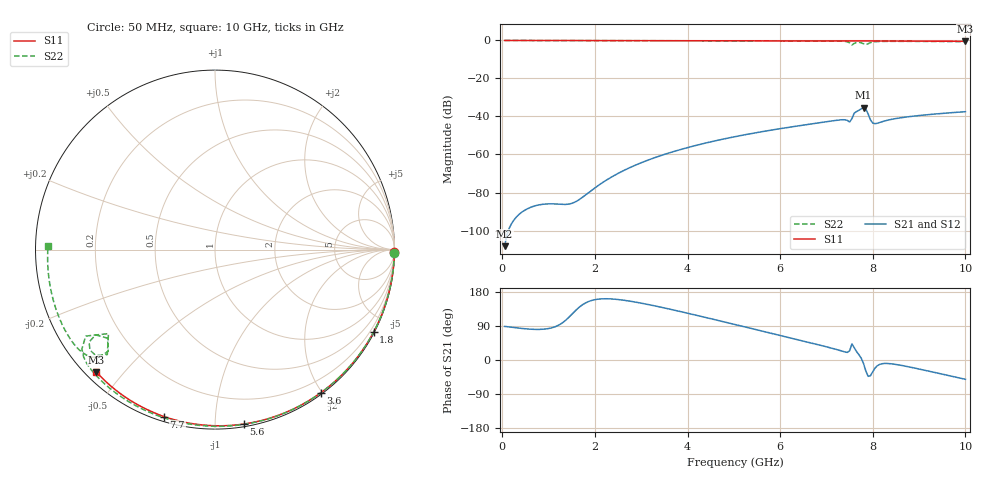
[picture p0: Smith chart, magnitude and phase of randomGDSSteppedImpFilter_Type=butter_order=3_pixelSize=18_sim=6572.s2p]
! freq	dB(S11)	phase(S11)	dB(S12)	phase(S12)
!  dB(S21)	phase(S21)	dB(S22)	phase(S22)
!S-par simulation data
#  GHz  S  DB  R 50
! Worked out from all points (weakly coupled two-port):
!   200 points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, 50 MHz to 10 GHz, reference 50 ohm
!   highest |S21| = -35.32 dB at 7.8 GHz (marker M1); lowest = -108.2 dB at 50 MHz (marker M2)
!   lowest |S11| = -0.4 dB at 10 GHz (marker M3), VSWR 38.68, Z = 1.52 - j21.1 ohm
!   |S11| at or under -10 dB: nowhere
!   |S22| runs from -2.4 to 0.0 dB; largest |S21 - S12| = 0
!   S11 on the Smith chart (normalised r, x): 50 MHz: open; 1.8 GHz: 0.04, -4.10; 3.6 GHz: 0.02, -1.98; 5.6 GHz: 0.02, -1.18; 7.7 GHz: 0.02, -0.74; 10 GHz: 0.03, -0.42
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0.05  -0.00 -0.8  -108.24 88.7  -108.24 88.7  -0.00 -1.0
1.75  -0.03 -26.7  -82.19 147.2  -82.19 147.2  -0.04 -34.8
1.8  -0.03 -27.4  -81.26 150.7  -81.26 150.7  -0.05 -35.7
1.9  -0.04 -28.9  -79.39 156.0  -79.39 156.0  -0.05 -37.7
2.6  -0.05 -39.2  -68.70 158.1  -68.70 158.1  -0.07 -51.1
3.4  -0.07 -50.8  -60.76 140.0  -60.76 140.0  -0.09 -66.0
3.6  -0.07 -53.6  -59.19 134.7  -59.19 134.7  -0.09 -69.7
5.05  -0.11 -73.5  -50.50 92.9  -50.50 92.9  -0.15 -95.5
5.6  -0.13 -80.7  -48.03 76.6  -48.03 76.6  -0.18 -105.1
6.7  -0.18 -94.7  -43.82 44.0  -43.82 44.0  -0.25 -124.6
7.3  -0.22 -102.1  -41.79 24.9  -41.79 24.9  -0.37 -137.3
7.5  -0.23 -104.5  -42.89 24.4  -42.89 24.4  -1.24 -146.2
7.55  -0.23 -105.2  -41.14 42.5  -41.14 42.5  -2.43 -141.7
7.6  -0.23 -105.8  -38.21 32.4  -38.21 32.4  -1.54 -135.7
7.7  -0.24 -107.0  -36.75 14.3  -36.75 14.3  -0.98 -141.2
7.8  -0.24 -108.2  -35.32 -9.1  -35.32 -9.1  -1.75 -144.5
7.85  -0.25 -108.8  -35.96 -29.0  -35.96 -29.0  -2.20 -140.5
7.9  -0.26 -109.4  -38.72 -43.1  -38.72 -43.1  -1.71 -136.5
8  -0.27 -110.6  -43.46 -31.0  -43.46 -31.0  -0.82 -138.8
8.35  -0.29 -114.8  -41.79 -9.4  -41.79 -9.4  -0.47 -148.5
9.15  -0.36 -124.2  -39.14 -27.8  -39.14 -27.8  -0.51 -164.4
10  -0.45 -134.2  -37.49 -50.9  -37.49 -50.9  -0.62 178.9
